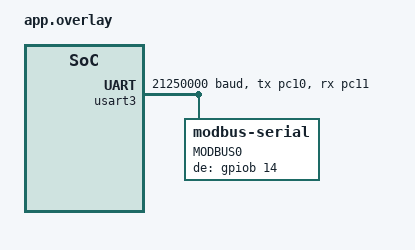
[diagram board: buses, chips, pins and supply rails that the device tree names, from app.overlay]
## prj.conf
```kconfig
CONFIG_LOG=n
CONFIG_GPIO=y
CONFIG_SERIAL=y
# CONFIG_UART_INTERRUPT_DRIVEN=y
CONFIG_UART_ASYNC_API=y
CONFIG_UART_LINE_CTRL=n

CONFIG_MODBUS=y
CONFIG_MODBUS_SERIAL_IRQ=n
CONFIG_MODBUS_SERIAL_ASYNC=y
CONFIG_MODBUS_ROLE_CLIENT=y
```

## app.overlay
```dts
/*
 * Copyright (c) 2020 Phytec Messtechnik GmbH
 *
 * SPDX-License-Identifier: Apache-2.0
 */

&usart3 {
	
	pinctrl-0 = < &usart3_tx_pc10 &usart3_rx_pc11 >;
	pinctrl-names = "default";
	current-speed = < 21250000 >;
	status = "okay";
	dmas = <&dmamux1 2 29 0x440>,
		   <&dmamux1 1 28 0x480>;
	dma-names = "tx", "rx";
	modbus0 {
		compatible = "zephyr,modbus-serial";
		label = "MODBUS0";
		status = "okay";
		de-gpios = <&gpiob 14 GPIO_ACTIVE_HIGH>;	/* D9 */
	};
};

&dma1 {
	status = "okay";
};

&dmamux1 {
	status = "okay";
};
```

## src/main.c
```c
/*
 * Copyright (c) 2020 PHYTEC Messtechnik GmbH
 *
 * SPDX-License-Identifier: Apache-2.0
 */

#include <zephyr/kernel.h>
#include <zephyr/sys/util.h>
#include <zephyr/drivers/gpio.h>
#include <zephyr/modbus/modbus.h>

#include <zephyr/logging/log.h>
LOG_MODULE_REGISTER(mbc_sample, LOG_LEVEL_INF);

static int client_iface;

const static struct modbus_iface_param client_param = {
	.mode = MODBUS_MODE_RTU,
	.rx_timeout = 50000,
	.serial = {
		.baud = 21250000,
		.parity = UART_CFG_PARITY_NONE,
		.stop_bits_client = UART_CFG_STOP_BITS_2,
	},
};

#define MODBUS_NODE DT_COMPAT_GET_ANY_STATUS_OKAY(zephyr_modbus_serial)

static int init_modbus_client(void)
{
	const char iface_name[] = {DEVICE_DT_NAME(MODBUS_NODE)};

	client_iface = modbus_iface_get_by_name(iface_name);

	return modbus_init_client(client_iface, client_param);
}

void main(void)
{
	uint16_t holding_reg[8] = {'H', 'e', 'l', 'l', 'o'};
	const uint8_t coil_qty = 3;
	uint8_t coil[1] = {0};
	const int32_t sleep = 250;
	static uint8_t node = 1;
	int err;


	if (init_modbus_client()) {
		LOG_ERR("Modbus RTU client initialization failed");
		return;
	}

	err = modbus_write_holding_regs(client_iface, node, 0, holding_reg,
					ARRAY_SIZE(holding_reg));
	if (err != 0) {
		LOG_ERR("FC16 failed with %d", err);
		// return;
	}

	err = modbus_read_holding_regs(client_iface, node, 0, holding_reg,
				       ARRAY_SIZE(holding_reg));
	if (err != 0) {
		LOG_ERR("FC03 failed with %d", err);
		// return;
	}

	LOG_HEXDUMP_INF(holding_reg, sizeof(holding_reg),
			"WR|RD holding register:");

	while (true) {
		uint16_t addr = 0;

		err = modbus_read_coils(client_iface, node, 0, coil, coil_qty);
		if (err != 0) {
			LOG_ERR("FC01 failed with %d", err);
			// return;
		}

		LOG_INF("Coils state 0x%02x", coil[0]);

		err = modbus_write_coil(client_iface, node, addr++, true);
		if (err != 0) {
			LOG_ERR("FC05 failed with %d", err);
			// return;
		}

		k_msleep(sleep);
		err = modbus_write_coil(client_iface, node, addr++, true);
		if (err != 0) {
			LOG_ERR("FC05 failed with %d", err);
			// return;
		}

		k_msleep(sleep);
		err = modbus_write_coil(client_iface, node, addr++, true);
		if (err != 0) {
			LOG_ERR("FC05 failed with %d", err);
			// return;
		}

		k_msleep(sleep);
		err = modbus_read_coils(client_iface, node, 0, coil, coil_qty);
		if (err != 0) {
			LOG_ERR("FC01 failed with %d", err);
			// return;
		}

		LOG_INF("Coils state 0x%02x", coil[0]);

		coil[0] = 0;
		err = modbus_write_coils(client_iface, node, 0, coil, coil_qty);
		if (err != 0) {
			LOG_ERR("FC15 failed with %d", err);
			// return;
		}

		k_msleep(sleep);
	}
}
```
